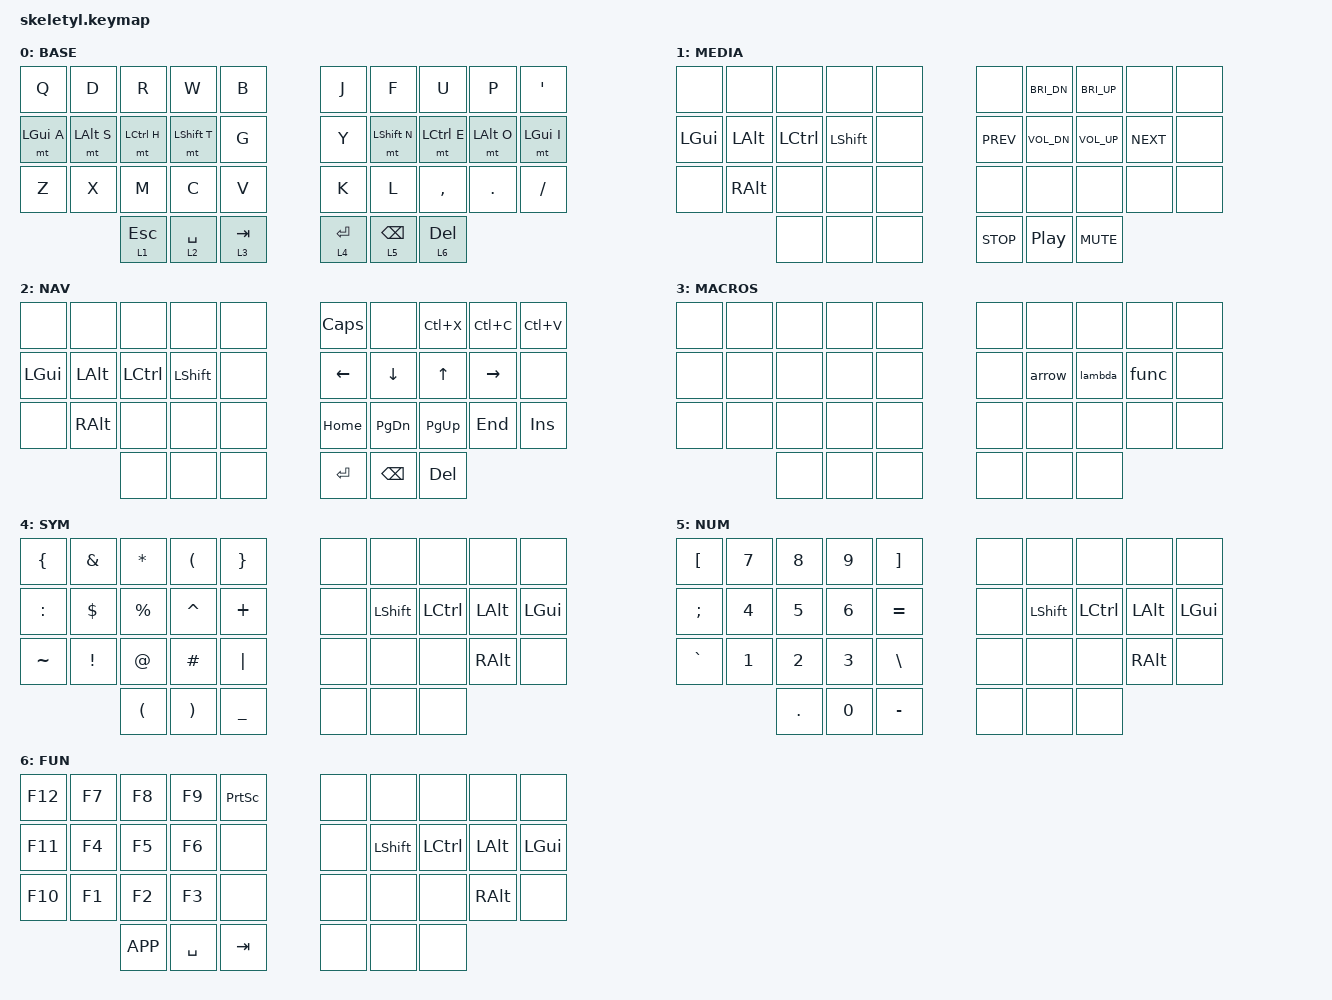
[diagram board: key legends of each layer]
// This file was generated from a template. Edit it to match your keyboard.
// See https://zmk.dev/docs/development/hardware-integration/new-shield for more instructions.

#include <behaviors.dtsi>
#include <dt-bindings/zmk/keys.h>

/ {
    behaviors {
      mt: mod_tap  {
        compatible = "zmk,behavior-hold-tap";
        flavor = "tap-preferred";
        tapping-term-ms = <200>;
      };

      lt: layer_tap {
        quick-tap-ms = <150>;
      };
    };

    macros {
      lambda: lambda {
        compatible = "zmk,behavior-macro";
        #binding-cells = <0>;
        bindings
          = <&macro_tap &kp LPAR &kp RPAR &kp SPACE &kp EQUAL &kp GT &kp SPACE &kp LBRC &kp RBRC>
          ;
      };

      arrow: arrow {
        compatible = "zmk,behavior-macro";
        #binding-cells = <0>;
        bindings
          = <&macro_tap &kp EQUAL &kp GT>
          ;
      };

      func: func {
        compatible = "zmk,behavior-macro";
        #binding-cells = <0>;
        bindings
          = <&macro_tap &kp LPAR &kp RPAR &kp SPACE &kp LBRC &kp RBRC>
          ;
      };
    };

    // Define a default keymap here.
    // See https://zmk.dev/docs/development/hardware-integration/new-shield#default-keymap.
    keymap {
        compatible = "zmk,keymap";

        default_layer {
            display-name = "BASE";
            bindings = <
                &kp Q      &kp D      &kp R       &kp W        &kp B        &kp J        &kp F         &kp U        &kp P       &kp SQT
                &mt LGUI A &mt LALT S &mt LCTRL H &mt LSHFT T  &kp G        &kp Y        &mt LSHFT N   &mt LCTRL E  &mt LALT O  &mt LGUI I
                &kp Z      &kp X      &kp M       &kp C        &kp V        &kp K        &kp L         &kp COMMA    &kp DOT     &kp SLASH
                                      &lt 1 ESC   &lt 2 SPACE  &lt 3 TAB    &lt 4 ENTER  &lt 5 BSPC    &lt 6 DEL
            >;
        };

        media_layer {
            display-name = "MEDIA";
            bindings = <
                &none     &none     &none       &none         &none        &none        &kp C_BRI_DN  &kp C_BRI_UP  &none       &none
                &kp LGUI  &kp LALT  &kp LCTRL   &kp LSHFT     &none        &kp C_PREV   &kp C_VOL_DN  &kp C_VOL_UP  &kp C_NEXT  &none
                &none     &kp RALT  &none       &none         &none        &none        &none         &none         &none       &none
                                    &none       &none         &none        &kp C_STOP   &kp C_PP      &kp C_MUTE
            >;
        };

        navigation_layer {
            display-name = "NAV";
            bindings = <
                &none     &none     &none       &none         &none      &kp CAPS     &none       &kp LC(X)  &kp LC(C)   &kp LC(V)
                &kp LGUI  &kp LALT  &kp LCTRL   &kp LSHFT     &none      &kp LEFT     &kp DOWN    &kp UP     &kp RIGHT   &none
                &none     &kp RALT  &none       &none         &none      &kp HOME     &kp PG_DN   &kp PG_UP  &kp END     &kp INS
                                    &none       &none         &none      &kp ENTER    &kp BSPC    &kp DEL
            >;
        };

        macros_layer {
            display-name = "MACROS";
            bindings = <
                &none     &none     &none       &none         &none      &none        &none       &none      &none       &none
                &none     &none     &none       &none         &none      &none        &arrow      &lambda    &func       &none
                &none     &none     &none       &none         &none      &none        &none       &none      &none       &none
                                    &none       &none         &none      &none        &none       &none
            >;
        };

        symbols_layer {
            display-name = "SYM";
            bindings = <
                &kp LBRC  &kp AMPS  &kp ASTRK   &kp LPAR      &kp RBRC      &none        &none       &none      &none       &none
                &kp COLON &kp DLLR  &kp PRCNT   &kp CARET     &kp PLUS      &none        &kp LSHFT   &kp LCTRL  &kp LALT    &kp LGUI
                &kp TILDE &kp EXCL  &kp AT      &kp POUND     &kp PIPE      &none        &none       &none      &kp RALT    &none
                                    &kp LPAR    &kp RPAR      &kp UNDER     &none        &none       &none
            >;
        };

        numbers_layer {
            display-name = "NUM";
            bindings = <
                &kp LBKT  &kp N7    &kp N8      &kp N9        &kp RBKT      &none        &none       &none      &none       &none
                &kp SEMI  &kp N4    &kp N5      &kp N6        &kp EQUAL     &none        &kp LSHFT   &kp LCTRL  &kp LALT    &kp LGUI
                &kp GRAVE &kp N1    &kp N2      &kp N3        &kp BSLH      &none        &none       &none      &kp RALT    &none
                                    &kp DOT     &kp N0        &kp MINUS     &none        &none       &none
            >;
        };

        function_layer {
            display-name = "FUN";
            bindings = <
                &kp F12   &kp F7    &kp F8      &kp F9        &kp PSCRN     &none        &none       &none      &none       &none
                &kp F11   &kp F4    &kp F5      &kp F6        &none         &none        &kp LSHFT   &kp LCTRL  &kp LALT    &kp LGUI
                &kp F10   &kp F1    &kp F2      &kp F3        &none         &none        &none       &none      &kp RALT    &none
                                    &kp K_APP   &kp SPACE     &kp TAB       &none        &none       &none
            >;
        };

    };
};
